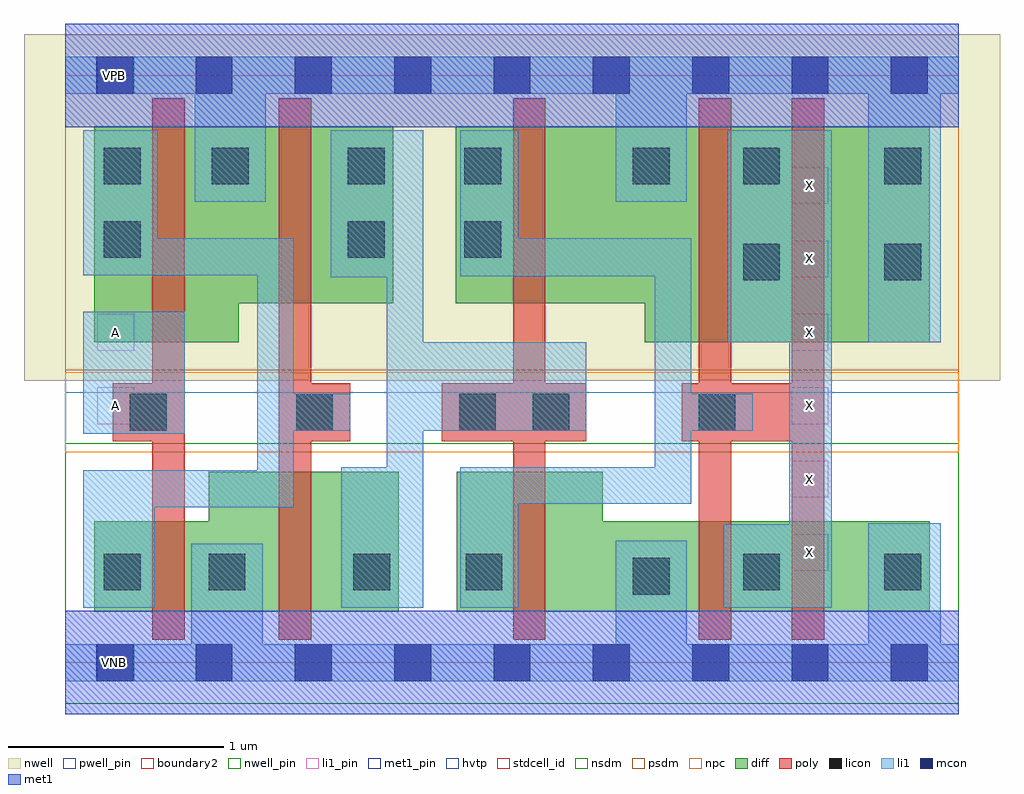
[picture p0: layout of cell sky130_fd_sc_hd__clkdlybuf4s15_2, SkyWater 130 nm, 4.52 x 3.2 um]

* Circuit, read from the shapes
.subckt sky130_fd_sc_hd__clkdlybuf4s15_2 A VGND VNB VPB VPWR X
XM1 VGND A n1 VNB sky130_fd_pr__nfet_01v8 w=0.42 l=0.15
XM2 n2 n1 VGND VNB sky130_fd_pr__nfet_01v8 w=0.65 l=0.15
XM3 VGND n2 n3 VNB sky130_fd_pr__nfet_01v8 w=0.65 l=0.15
XM4 X n3 VGND VNB sky130_fd_pr__nfet_01v8 w=0.42 l=0.15 m=2
XM5 VPWR A n1 VPB sky130_fd_pr__pfet_01v8_hvt w=1 l=0.15
XM6 n2 n1 VPWR VPB sky130_fd_pr__pfet_01v8_hvt w=0.82 l=0.15
XM7 VPWR n2 n3 VPB sky130_fd_pr__pfet_01v8_hvt w=0.82 l=0.15
XM8 X n3 VPWR VPB sky130_fd_pr__pfet_01v8_hvt w=1 l=0.15 m=2
.ends

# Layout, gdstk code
import gdstk
lib = gdstk.Library(unit=1e-6, precision=1e-09)
def R(c, l, rs):  # rectangles x0, y0, x1, y1
    for r in rs: c.add(gdstk.rectangle(r[:2], r[2:], *l))
def A(c, l, x, y, w, h, nx, ny, dx, dy):  # array of equal rectangles
    R(c, l, [(x+i*dx, y+j*dy, x+i*dx+w, y+j*dy+h) for i in range(nx) for j in range(ny)])
def P(c, l, *ps):  # polygons
    for p in ps: c.add(gdstk.Polygon(p, *l))
nwell_pin = (64, 16)
nwell = (64, 20)
diff = (65, 20)
poly = (66, 20)
licon = (66, 44)
li1_pin = (67, 16)
li1 = (67, 20)
mcon = (67, 44)
met1_pin = (68, 16)
met1 = (68, 20)
hvtp = (78, 44)
stdcell_id = (81, 4)
nsdm = (93, 44)
psdm = (94, 20)
npc = (95, 20)
pwell_pin = (122, 16)
boundary2 = (236, 0)

sky130_fd_sc_hd__clkdlyb = lib.new_cell('sky130_fd_sc_hd__clkdlybuf4s15_2')
R(sky130_fd_sc_hd__clkdlyb, nwell_pin, [(0.15,2.635,0.32,2.805)])
R(sky130_fd_sc_hd__clkdlyb, nwell, [(-0.19,1.305,4.33,2.91)])
P(sky130_fd_sc_hd__clkdlyb, diff, [(1.52,2.485),(0.135,2.485),(0.135,1.485),(0.805,1.485),(0.805,1.665),(1.52,1.665)],
  [(1.545,0.885),(0.665,0.885),(0.665,0.655),(0.135,0.655),(0.135,0.235),(1.545,0.235)],
  [(4.005,2.485),(1.81,2.485),(1.81,1.665),(2.685,1.665),(2.685,1.485),(4.005,1.485)],
  [(4.005,0.655),(2.49,0.655),(2.49,0.885),(1.815,0.885),(1.815,0.235),(4.005,0.235)])
P(sky130_fd_sc_hd__clkdlyb, poly, [(0.555,2.615),(0.405,2.615),(0.405,1.295),(0.22,1.295),(0.22,1.025),(0.405,1.025),(0.405,0.105),(0.555,0.105)],
  [(1.32,1.295),(1.14,1.295),(1.14,2.615),(0.99,2.615),(0.99,0.105),(1.14,0.105),(1.14,1.025),(1.32,1.025)],
  [(2.415,1.295),(2.225,1.295),(2.225,2.615),(2.075,2.615),(2.075,1.295),(1.745,1.295),(1.745,1.025),(2.075,1.025),(2.075,0.105),(2.225,0.105),(2.225,1.025),(2.415,1.025)],
  [(3.515,2.615),(3.365,2.615),(3.365,1.295),(3.085,1.295),(3.085,2.615),(2.935,2.615),(2.935,1.295),(2.855,1.295),(2.855,1.025),(2.935,1.025),(2.935,0.105),(3.085,0.105),(3.085,1.025),(3.365,1.025),(3.365,0.105),(3.515,0.105)])
R(sky130_fd_sc_hd__clkdlyb, licon, [(2.63,0.315,2.8,0.485), (0.18,0.335,0.35,0.505), (0.665,0.335,0.835,0.505), (1.335,0.335,1.505,0.505), (1.855,0.335,2.025,0.505), (3.14,0.335,3.31,0.505), (3.795,0.335,3.965,0.505), (0.3,1.075,0.47,1.245), (1.07,1.075,1.24,1.245), (1.825,1.075,1.995,1.245), (2.165,1.075,2.335,1.245), (2.935,1.075,3.105,1.245), (3.14,1.77,3.31,1.94), (3.795,1.77,3.965,1.94), (0.18,1.875,0.35,2.045), (1.31,1.875,1.48,2.045), (1.85,1.875,2.02,2.045), (0.18,2.215,0.35,2.385), (0.68,2.215,0.85,2.385), (1.31,2.215,1.48,2.385), (1.85,2.215,2.02,2.385), (2.63,2.215,2.8,2.385), (3.14,2.215,3.31,2.385), (3.795,2.215,3.965,2.385)])
A(sky130_fd_sc_hd__clkdlyb, li1_pin, 3.365, 0.425, 0.17, 0.17, 1, 6, 0, 0.34)
R(sky130_fd_sc_hd__clkdlyb, li1_pin, [(0.15,1.105,0.32,1.275), (0.15,1.445,0.32,1.615)])
R(sky130_fd_sc_hd__clkdlyb, li1, [(0.085,1.06,0.555,1.625)])
P(sky130_fd_sc_hd__clkdlyb, li1, [(4.14,0.085),(4.055,0.085),(4.055,0.645),(3.72,0.645),(3.72,0.085),(2.88,0.085),(2.88,0.565),(2.55,0.565),(2.55,0.085),(0.915,0.085),(0.915,0.55),(0.585,0.55),(0.585,0.085),(0,0.085),(0,-0.085),(4.14,-0.085)],
  [(4.14,2.805),(0,2.805),(0,2.635),(0.6,2.635),(0.6,2.135),(0.93,2.135),(0.93,2.635),(2.55,2.635),(2.55,2.135),(2.88,2.135),(2.88,2.635),(3.72,2.635),(3.72,1.485),(4.055,1.485),(4.055,2.635),(4.14,2.635)],
  [(2.415,1.485),(1.66,1.485),(1.66,2.465),(1.23,2.465),(1.23,1.785),(1.49,1.785),(1.49,0.905),(1.28,0.905),(1.28,0.255),(1.66,0.255),(1.66,1.075),(2.415,1.075)],
  [(1.32,1.245),(1.06,1.245),(1.06,1.965),(0.43,1.965),(0.43,2.465),(0.085,2.465),(0.085,1.795),(0.89,1.795),(0.89,0.89),(0.085,0.89),(0.085,0.255),(0.415,0.255),(0.415,0.72),(1.06,0.72),(1.06,1.075),(1.32,1.075)],
  [(3.185,1.245),(2.9,1.245),(2.9,1.965),(2.1,1.965),(2.1,2.465),(1.83,2.465),(1.83,1.79),(2.73,1.79),(2.73,0.905),(1.83,0.905),(1.83,0.255),(2.1,0.255),(2.1,0.735),(2.9,0.735),(2.9,1.075),(3.185,1.075)],
  [(3.55,2.465),(3.07,2.465),(3.07,1.485),(3.355,1.485),(3.355,0.64),(3.05,0.64),(3.05,0.255),(3.55,0.255)])
A(sky130_fd_sc_hd__clkdlyb, mcon, 0.145, -0.085, 0.17, 0.17, 9, 2, 0.46, 2.72)
R(sky130_fd_sc_hd__clkdlyb, met1_pin, [(0.15,-0.085,0.32,0.085), (0.15,2.635,0.32,2.805)])
R(sky130_fd_sc_hd__clkdlyb, hvtp, [(0,1.25,4.14,2.72)])
R(sky130_fd_sc_hd__clkdlyb, stdcell_id, [(0,0,4.14,2.72)])
R(sky130_fd_sc_hd__clkdlyb, nsdm, [(0,-0.19,4.14,1.015)])
R(sky130_fd_sc_hd__clkdlyb, psdm, [(0,1.355,4.14,2.91)])
R(sky130_fd_sc_hd__clkdlyb, npc, [(0,0.975,4.14,1.345)])
R(sky130_fd_sc_hd__clkdlyb, pwell_pin, [(0.15,-0.085,0.32,0.085)])
R(sky130_fd_sc_hd__clkdlyb, boundary2, [(0,0,4.14,2.72)])
sky130_fd_sc_hd__clkdlyb.add(gdstk.FlexPath([(0,2.72),(4.14,2.72)], 0.48, ends="flush", simple_path=True, layer=68, datatype=20))  # met1
sky130_fd_sc_hd__clkdlyb.add(gdstk.FlexPath([(0,0),(4.14,0)], 0.48, ends="flush", simple_path=True, layer=68, datatype=20))  # met1
sky130_fd_sc_hd__clkdlyb.add(gdstk.Label('A', (0.235,1.53), layer=67, texttype=5))
sky130_fd_sc_hd__clkdlyb.add(gdstk.Label('A', (0.235,1.19), layer=67, texttype=5))
sky130_fd_sc_hd__clkdlyb.add(gdstk.Label('X', (3.45,2.21), layer=67, texttype=5))
sky130_fd_sc_hd__clkdlyb.add(gdstk.Label('X', (3.45,1.87), layer=67, texttype=5))
sky130_fd_sc_hd__clkdlyb.add(gdstk.Label('X', (3.45,1.53), layer=67, texttype=5))
sky130_fd_sc_hd__clkdlyb.add(gdstk.Label('X', (3.45,1.19), layer=67, texttype=5))
sky130_fd_sc_hd__clkdlyb.add(gdstk.Label('X', (3.45,0.85), layer=67, texttype=5))
sky130_fd_sc_hd__clkdlyb.add(gdstk.Label('X', (3.45,0.51), layer=67, texttype=5))
sky130_fd_sc_hd__clkdlyb.add(gdstk.Label('VNB', (0.23,0), layer=64, texttype=59))
sky130_fd_sc_hd__clkdlyb.add(gdstk.Label('VPB', (0.23,2.72), layer=64, texttype=5))
sky130_fd_sc_hd__clkdlyb.add(gdstk.Label('VPWR', (0.23,2.72), layer=68, texttype=5))
sky130_fd_sc_hd__clkdlyb.add(gdstk.Label('VGND', (0.23,0), layer=68, texttype=5))
sky130_fd_sc_hd__clkdlyb.add(gdstk.Label('clkdlybuf4s15_2', (0,0), layer=83, texttype=44))

lib.write_gds('sky130_fd_sc_hd__clkdlybuf4s15_2.gds')
